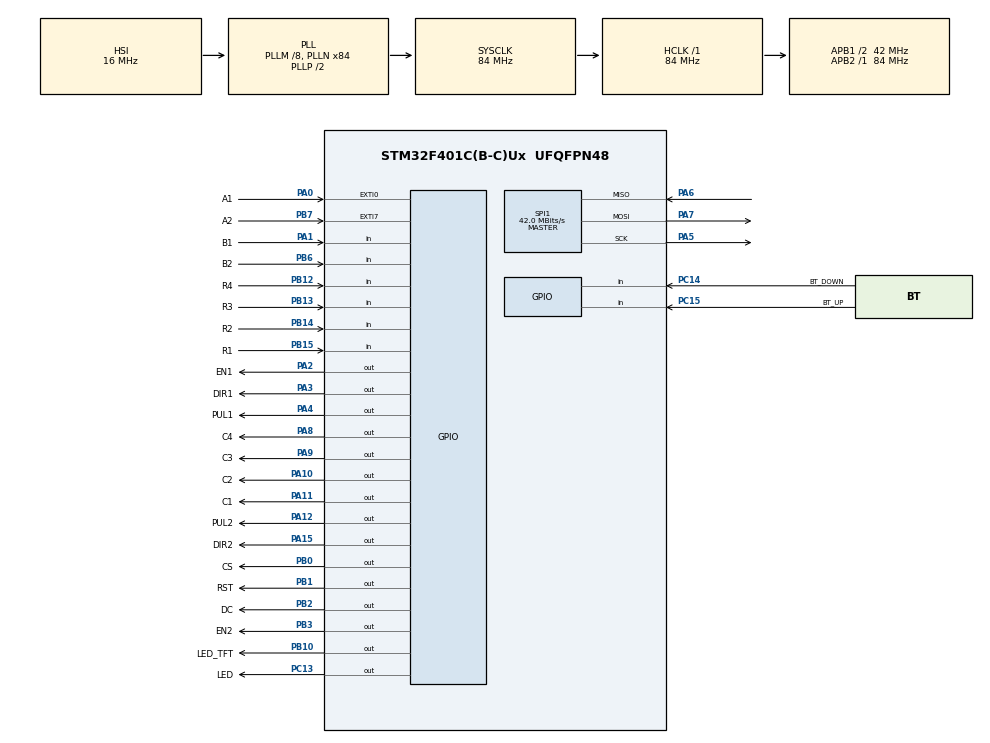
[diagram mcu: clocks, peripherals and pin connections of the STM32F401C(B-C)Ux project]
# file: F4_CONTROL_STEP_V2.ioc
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Dma.Request0=SPI1_TX
Dma.SPI1_TX.0.Direction=DMA_MEMORY_TO_PERIPH
Dma.SPI1_TX.0.FIFOMode=DMA_FIFOMODE_DISABLE
Dma.SPI1_TX.0.Instance=DMA2_Stream3
Dma.SPI1_TX.0.MemDataAlignment=DMA_MDATAALIGN_BYTE
Dma.SPI1_TX.0.MemInc=DMA_MINC_ENABLE
Dma.SPI1_TX.0.Mode=DMA_NORMAL
Dma.SPI1_TX.0.PeriphDataAlignment=DMA_PDATAALIGN_BYTE
Dma.SPI1_TX.0.PeriphInc=DMA_PINC_DISABLE
Dma.SPI1_TX.0.Priority=DMA_PRIORITY_LOW
Mcu.Family=STM32F4
Mcu.Name=STM32F401C(B-C)Ux
Mcu.Package=UFQFPN48
NVIC.DMA2_Stream3_IRQn=true\:0\:0\:false\:false\:true\:false\:true\:true
NVIC.EXTI0_IRQn=true\:0\:0\:false\:false\:true\:true\:true\:true
NVIC.EXTI9_5_IRQn=true\:0\:0\:false\:false\:true\:true\:true\:true
NVIC.PriorityGroup=NVIC_PRIORITYGROUP_4
NVIC.SPI1_IRQn=true\:0\:0\:false\:false\:true\:true\:true\:true
NVIC.TIM1_BRK_TIM9_IRQn=true\:0\:0\:false\:false\:true\:true\:true\:true
NVIC.TIM1_TRG_COM_TIM11_IRQn=true\:0\:0\:false\:false\:true\:true\:true\:true
NVIC.TIM1_UP_TIM10_IRQn=true\:0\:0\:false\:false\:true\:true\:true\:true
PA0-WKUP.GPIO_Label=A1
PA0-WKUP.GPIO_ModeDefaultEXTI=GPIO_MODE_IT_FALLING
PA0-WKUP.Signal=GPXTI0
PA1.GPIO_Label=B1
PA1.Signal=GPIO_Input
PA10.GPIO_Label=C2
PA10.Signal=GPIO_Output
PA11.GPIO_Label=C1
PA11.Signal=GPIO_Output
PA12.GPIO_Label=PUL2
PA12.GPIO_Speed=GPIO_SPEED_FREQ_VERY_HIGH
PA12.Signal=GPIO_Output
PA13.Mode=Serial_Wire
PA13.Signal=SYS_JTMS-SWDIO
PA14.Mode=Serial_Wire
PA14.Signal=SYS_JTCK-SWCLK
PA15.GPIO_Label=DIR2
PA15.Signal=GPIO_Output
PA2.GPIO_Label=EN1
PA2.Signal=GPIO_Output
PA3.GPIO_Label=DIR1
PA3.Signal=GPIO_Output
PA4.GPIO_Label=PUL1
PA4.GPIO_Speed=GPIO_SPEED_FREQ_VERY_HIGH
PA4.Signal=GPIO_Output
PA5.Mode=Full_Duplex_Master
PA5.Signal=SPI1_SCK
PA6.Mode=Full_Duplex_Master
PA6.Signal=SPI1_MISO
PA7.Mode=Full_Duplex_Master
PA7.Signal=SPI1_MOSI
PA8.GPIO_Label=C4
PA8.Signal=GPIO_Output
PA9.GPIO_Label=C3
PA9.Signal=GPIO_Output
PB0.GPIO_Label=CS
PB0.Signal=GPIO_Output
PB1.GPIO_Label=RST
PB1.Signal=GPIO_Output
PB10.GPIO_Label=LED_TFT
PB10.Signal=GPIO_Output
PB12.GPIO_Label=R4
PB12.Signal=GPIO_Input
PB13.GPIO_Label=R3
PB13.Signal=GPIO_Input
PB14.GPIO_Label=R2
PB14.Signal=GPIO_Input
PB15.GPIO_Label=R1
PB15.Signal=GPIO_Input
PB2.GPIO_Label=DC
PB2.Signal=GPIO_Output
PB3.GPIO_Label=EN2
PB3.Signal=GPIO_Output
PB6.GPIO_Label=B2
PB6.Signal=GPIO_Input
PB7.GPIO_Label=A2
PB7.GPIO_ModeDefaultEXTI=GPIO_MODE_IT_FALLING
PB7.Signal=GPXTI7
PC13-ANTI_TAMP.GPIO_Label=LED
PC13-ANTI_TAMP.Signal=GPIO_Output
PC14-OSC32_IN.GPIO_Label=BT_DOWN
PC14-OSC32_IN.Signal=GPIO_Input
PC15-OSC32_OUT.GPIO_Label=BT_UP
PC15-OSC32_OUT.Signal=GPIO_Input
PH0\ -\ OSC_IN.Mode=HSE-External-Oscillator
PH0\ -\ OSC_IN.Signal=RCC_OSC_IN
PH1\ -\ OSC_OUT.Mode=HSE-External-Oscillator
PH1\ -\ OSC_OUT.Signal=RCC_OSC_OUT
ProjectManager.HeapSize=0x200
ProjectManager.StackSize=0x400
ProjectManager.TargetToolchain=MDK-ARM V5
RCC.48MHZClocksFreq_Value=42000000
RCC.AHBFreq_Value=84000000
RCC.APB1CLKDivider=RCC_HCLK_DIV2
RCC.APB1Freq_Value=42000000
RCC.APB1TimFreq_Value=84000000
RCC.APB2Freq_Value=84000000
RCC.APB2TimFreq_Value=84000000
RCC.CortexFreq_Value=84000000
RCC.HCLKFreq_Value=84000000
RCC.HSE_VALUE=25000000
RCC.HSI_VALUE=16000000
RCC.LSE_VALUE=32768
RCC.PLLM=8
RCC.PLLN=84
RCC.SYSCLKFreq_VALUE=84000000
RCC.SYSCLKSource=RCC_SYSCLKSOURCE_PLLCLK
RCC.VCOOutputFreq_Value=168000000
SPI1.CalculateBaudRate=42.0 MBits/s
SPI1.Direction=SPI_DIRECTION_2LINES
SPI1.Mode=SPI_MODE_MASTER
SPI1.VirtualType=VM_MASTER
TIM10.Period=70-1
TIM10.Prescaler=84-1
TIM11.Period=2000-1
TIM11.Prescaler=84-1
TIM9.Period=10000-1
TIM9.Prescaler=840-1
VP_TIM10_VS_ClockSourceINT.Mode=Enable_Timer
VP_TIM11_VS_ClockSourceINT.Mode=Enable_Timer
VP_TIM9_VS_ClockSourceINT.Mode=Internal
board=custom

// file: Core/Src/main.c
/* USER CODE BEGIN Header */
/**
 ******************************************************************************
 * @file           : main.c
 * @brief          : Main program body
 ******************************************************************************
 * @attention
 *
 * Copyright (c) 2024 STMicroelectronics.
 * All rights reserved.
 *
 * This software is licensed under terms that can be found in the LICENSE file
 * in the root directory of this software component.
 * If no LICENSE file comes with this software, it is provided AS-IS.
 *
 ******************************************************************************
 */
/* USER CODE END Header */
#include "main.h"
#include "dma.h"
#include "spi.h"
#include "tim.h"
#include "gpio.h"

/* USER CODE BEGIN Includes */
#include "encoder.h"
#include "Keypad_user.h"
#include "flash.h"
#include "Button_user.h"
#include "ILI9431_user.h"
#include "step_user.h"
#include "string.h"
#include "stdio.h"
#include "math.h"
#include "stdlib.h"
#include "stdbool.h"
#include "mainTFT.h"
#include "Flash_user.h"
#include "user_ex.h"
#include "saveToFlash.h"
/* USER CODE END Includes */

/* USER CODE BEGIN PV */
extern uint8_t u8COLUMS;
extern bool changeButton;

uint16_t *arrayRotationW, *arrayRotationR;

dataUser_t dataUserInput;
dataSaveFlash_t dataWriteFlash, dataReadFlash;
dataPage_t dataPageW;

volatile bool changeEncoder1, changeEncoder2;

Screen_t screenCurr = ENCODER_ROTATION_SCREEN, screenPrev = ANGLE_MAIN_SCREEN;

volatile uint64_t timeLed, timeKeyPad;

char keyPressCurr, keyPressLast;
bool stateSaveSetup, stateSaveRotation;

uint8_t arrayTest[5];

volatile uint32_t pulseStep;
volatile bool isRun;
bool check; // FOR SCREEN LOOP MODE
/* USER CODE END PV */

void SystemClock_Config(void);

/* USER CODE BEGIN 0 */
void HAL_TIM_PeriodElapsedCallback(TIM_HandleTypeDef *htim)
{
	if (htim->Instance == htim10.Instance)
	{
		{
			if (dataUserInput.dataSetup.LoopMode == true)
			{
				if (pulseStep == 0)
				{
					pulseStep = dataUserInput.dataSetup.pulse;
				}
			}
		}
		{
			if (screenCurr != SETUP_SCREEN)
			{
				dataUserInput.dataSetup.LoopMode = false;
			}
		}
		if (pulseStep != 0)
		{
			isRun = true;
			pulseStep--;
			HAL_GPIO_TogglePin(PUL2_GPIO_Port, PUL2_Pin);
		}
		else if (pulseStep == 0)
		{
			isRun = false;
		}
	}
	if (htim->Instance == htim11.Instance)
	{
		handleKeypadInTimer();
		keyPressCurr = getKey();
		if (keyPressLast != keyPressCurr)
		{
			if (HAL_GetTick() - timeKeyPad > 50)
			{
				keyPressLast = keyPressCurr;
				{
					if (screenCurr == ENCODER_ROTATION_SCREEN)
					{
						changeButton = true;
						if (keyPressCurr != '#' && keyPressCurr != 'A' && keyPressCurr != 'B' && keyPressCurr != 'C' && keyPressCurr != 'D' && keyPressCurr != 'x')
						{
							dataUserInput.bKeypadEncoder = true;
							if (keyPressCurr == '*')
							{
								keyPressCurr = '.';
							}
							if (dataUserInput.indexRotEn < 2)
							{
								dataUserInput.arrayRotEn[dataUserInput.indexRotEn] = (char)keyPressCurr;
								dataUserInput.indexRotEn++;
							}
							else
							{
								dataUserInput.indexRotEn = 0;
							}
						}
						else if (keyPressCurr == '#')
						{
							uint8_t rot = atoi(dataUserInput.arrayRotEn);
							if (rot > dataUserInput.IndexRotation)
							{
								rot = dataUserInput.IndexRotation;
							}
							dataUserInput.RotationInTFT = rot * (ROUND / dataUserInput.IndexRotation);
							dataUserInput.bKeypadEncoder = false;
							memset(dataUserInput.arrayRotEn, '\0', sizeof(dataUserInput.arrayRotEn));
							dataUserInput.indexRotEn = 0;
						}
					}
					// SET UP SCREEN LOOP MODE, PULSE , SPEED
					else if (screenCurr == SETUP_SCREEN)
					{
						changeButton = true;
						if (dataUserInput.indexPageInSetup == 1)
						{
							// SET UP LOOP MODE
							if (dataUserInput.indexSlotInSetup == 1)
							{
								if (keyPressCurr == '#')
								{
									if (dataUserInput.dataSetup.LoopMode == false)
									{
										dataUserInput.dataSetup.LoopMode = true;
										check = false;
									}
									else if (dataUserInput.dataSetup.LoopMode == true)
									{
										dataUserInput.dataSetup.LoopMode = false;
									}
								}
							}
							// SET UP PULSE
							else if (dataUserInput.indexSlotInSetup == 2)
							{
								// PRESS NUMBER PULSE
								if (keyPressCurr != '#' && keyPressCurr != 'A' && keyPressCurr != 'B' && keyPressCurr != 'C' && keyPressCurr != 'D' && keyPressCurr != 'x')
								{
									dataUserInput.dataSetup.changePulse = true;
									if (keyPressCurr == '*')
									{
										keyPressCurr = '.';
									}
									if (dataUserInput.dataSetup.indexArrayPulse > sizeof(dataUserInput.dataSetup.arrayPulse))
									{
										dataUserInput.dataSetup.indexArrayPulse = 0;
									}
									dataUserInput.dataSetup.arrayPulse[dataUserInput.dataSetup.indexArrayPulse] = (char)keyPressCurr;
									dataUserInput.dataSetup.indexArrayPulse++;
								}
								// COMFIRM PULSE -> SAVE TO FLASH
								else if (keyPressCurr == '#')
								{
									dataUserInput.dataSetup.changePulse = false;
									dataUserInput.dataSetup.indexArrayPulse = 0;
									dataUserInput.dataSetup.pulse = atoi(dataUserInput.dataSetup.arrayPulse);
									// sscanf(dataUserInput.dataSetup.arrayPulse, "%lld", &dataUserInput.dataSetup.pulse);
									stateSaveSetup = true; // START SAVE SETUP
								}
							}
							// SET UP SPEED
							else if (dataUserInput.indexSlotInSetup == 3)
							{
								// PRESS NUMBER SPEED
								if (keyPressCurr != '#' && keyPressCurr != 'A' && keyPressCurr != 'B' && keyPressCurr != 'C' && keyPressCurr != 'D' && keyPressCurr != 'x')
								{
									dataUserInput.dataSetup.changeSpeed = true;
									if (keyPressCurr == '*')
									{
										keyPressCurr = '.';
									}
									if (dataUserInput.dataSetup.indexArraySpeed > sizeof(dataUserInput.dataSetup.arraySpeed))
									{
										dataUserInput.dataSetup.indexArraySpeed = 0;
									}
									dataUserInput.dataSetup.arraySpeed[dataUserInput.dataSetup.indexArraySpeed] = (char)keyPressCurr;
									dataUserInput.dataSetup.indexArraySpeed++;
								}
								// COMFIRM SPEED -> SAVE TO FLASH
								else if (keyPressCurr == '#')
								{
									dataUserInput.dataSetup.changeSpeed = false;
									dataUserInput.dataSetup.indexArraySpeed = 0;
									dataUserInput.dataSetup.speed = atoi(dataUserInput.dataSetup.arraySpeed);
									// sscanf(dataUserInput.dataSetup.arraySpeed, "%d", &dataUserInput.dataSetup.speed);
									stateSaveSetup = true; // START SAVE SETUP
								}
							}
						}
						else if (dataUserInput.indexPageInSetup == 2)
						{
							if (dataUserInput.indexSlotInSetup == 1)
							{
								// SET UP NUM INDEX
								if (keyPressCurr != '#' && keyPressCurr != 'A' && keyPressCurr != 'B' && keyPressCurr != 'C' && keyPressCurr != 'D' && keyPressCurr != 'x')
								{
									dataUserInput.dataSetup.changeNumIndex = true;
									if (keyPressCurr == '*')
									{
										keyPressCurr = '.';
									}
									if (dataUserInput.dataSetup.indexArrayNumI > sizeof(dataUserInput.dataSetup.arrayNumIndex))
									{
										dataUserInput.dataSetup.indexArrayNumI = 0;
									}
									dataUserInput.dataSetup.arrayNumIndex[dataUserInput.dataSetup.indexArrayNumI] = (char)keyPressCurr;
									dataUserInput.dataSetup.indexArrayNumI++;
								}
								// COMFIRM NUM INDEX -> SAVE TO FLASH
								else if (keyPressCurr == '#')
								{
									dataUserInput.dataSetup.changeNumIndex = false;
									dataUserInput.dataSetup.indexArrayNumI = 0;
									dataUserInput.dataSetup.numIndex = atoi(dataUserInput.dataSetup.arrayNumIndex);
									// sscanf(dataUserInput.dataSetup.arrayNumIndex, "%d", &dataUserInput.dataSetup.numIndex);
									stateSaveSetup = true;
								}
							}
						}
					}
					// INPUT TOTAL PAGE
					else if (screenCurr == INPUT_TOTAL_PAGE_SCREEN)
					{
						changeButton = true;
						if (keyPressCurr != '#' && keyPressCurr != 'A' && keyPressCurr != 'B' && keyPressCurr != 'C' && keyPressCurr != 'D' && keyPressCurr != 'x')
						{

							dataUserInput.dataSetupRotation.changeCreatPage = true;
							if (keyPressCurr == '*')
							{
								keyPressCurr = '.';
							}
							if (dataUserInput.dataSetupRotation.indexStrTotalPage < sizeof(dataUserInput.dataSetupRotation.strTotalPage))
							{
								dataUserInput.dataSetupRotation.strTotalPage[dataUserInput.dataSetupRotation.indexStrTotalPage] = (char)keyPressCurr;
								dataUserInput.dataSetupRotation.indexStrTotalPage++;
							}
							else
							{
								dataUserInput.dataSetupRotation.indexStrTotalPage = 0;
							}
						}
						else if (keyPressCurr == '#')
						{
							dataUserInput.dataSetupRotation.indexStrTotalPage = 0;
							dataPageW.totalPage = atoi(dataUserInput.dataSetupRotation.strTotalPage);
							if (dataPageW.totalPage >= SETUP_ROTATION_MAX_SLOT)
							{
								dataPageW.totalPage = SETUP_ROTATION_MAX_SLOT;
							}
							dataUserInput.dataSetupRotation.changeCreatPage = false;
							dataUserInput.dataSetup.totalPage = dataPageW.totalPage;
							dataWriteFlash.totalPage = dataPageW.totalPage;
							stateSaveSetup = true;
						}
					}
					// INPUT ROTATION
					else if (screenCurr == HAND_ROTATION_SCREEN)
					{
						changeButton = true;

						if (keyPressCurr != '#' && keyPressCurr != 'A' && keyPressCurr != 'B' && keyPressCurr != 'C' && keyPressCurr != 'D' && keyPressCurr != 'x')
						{
							dataUserInput.dataSetupRotation.changeCreatPage = true;
							if (keyPressCurr == '*')
							{
								keyPressCurr = '.';
							}
							if (dataUserInput.dataSetupRotation.indexStrRotation < SETUP_ROTATION_MAX_STR)
							{
								dataUserInput.dataSetupRotation.strRotation[dataUserInput.dataSetupRotation.indexStrRotation] = (char)keyPressCurr;
								dataUserInput.dataSetupRotation.indexStrRotation++;
							}
							else
							{
								dataUserInput.dataSetupRotation.indexStrRotation = 0;
							}
						}
						else if (keyPressCurr == '#')
						{
							dataPageW.indexArrRCur = (dataUserInput.dataSetupRotation.indexSlotInRotation) + ((dataUserInput.dataSetupRotation.indexPageInRotation - 1) * 3);
							dataPageW.dataRotation[dataPageW.page][dataPageW.indexArrRCur] = atoi(dataUserInput.dataSetupRotation.strRotation);
							if (dataPageW.dataRotation[dataPageW.page][dataPageW.indexArrRCur] >= dataUserInput.dataSetup.numIndex)
							{
								dataPageW.dataRotation[dataPageW.page][dataPageW.indexArrRCur] = dataUserInput.dataSetup.numIndex;
							}
							dataUserInput.dataSetupRotation.indexStrRotation = 0;
							memset(dataUserInput.dataSetupRotation.strRotation, '0', 2);
							dataUserInput.dataSetupRotation.changeCreatPage = false;
						}
					}
					else if (screenCurr == ANGLE_MAIN_SCREEN)
					{
						if (keyPressCurr == '#')
						{
							changeButton = true;
							// for (uint8_t i = 0; i < dataUserInput.dataAngleInMain.rotation_3; i++)
							// {
							// 	dataUserInput.RotationInTFT += ROUND / dataUserInput.IndexRotation;
							// }
							dataUserInput.RotationInTFT = dataUserInput.dataAngleInMain.rotation_3 * (ROUND / dataUserInput.IndexRotation);
						}
					}
				}
				{
					if (keyPressCurr == 'A') // ON/OFF MANUAL ANGLE
					{
						if (screenCurr != HAND_ROTATION_SCREEN && screenCurr != SETUP_SCREEN && screenCurr != INPUT_TOTAL_PAGE_SCREEN)
						{
							if (screenCurr == ENCODER_ROTATION_SCREEN)
							{
								screenCurr = FLOOR_MAIN_SCREEN;
							}
							else if (screenCurr == CHEATER_SCREEN)
							{
								screenCurr = FLOOR_MAIN_SCREEN;
							}
							else if (screenCurr == FLOOR_MAIN_SCREEN)
							{
								screenCurr = ANGLE_MAIN_SCREEN;
							}
							else if (screenCurr == ANGLE_MAIN_SCREEN)
							{
								screenCurr = FLOOR_MAIN_SCREEN;
							}
						}
					}
					else if (keyPressCurr == 'B') // ON/OFF MANUAL ROTATION
					{
						if (screenCurr == ENCODER_ROTATION_SCREEN)
						{
							screenCurr = INPUT_TOTAL_PAGE_SCREEN;
						}
						else if (screenCurr == INPUT_TOTAL_PAGE_SCREEN)
						{
							screenCurr = ENCODER_ROTATION_SCREEN;
						}
						else
						{
							screenCurr = ENCODER_ROTATION_SCREEN;
						}
					}
					else if (keyPressCurr == 'C') // ON/OFF CHEATER
					{
						if (screenCurr != HAND_ROTATION_SCREEN && screenCurr != SETUP_SCREEN && screenCurr != INPUT_TOTAL_PAGE_SCREEN)
						{
							if (screenCurr == ENCODER_ROTATION_SCREEN)
							{
								screenCurr = CHEATER_SCREEN;
							}
							else if (screenCurr == CHEATER_SCREEN)
							{
								screenCurr = ENCODER_ROTATION_SCREEN;
							}
							else if (screenCurr == ANGLE_MAIN_SCREEN || screenCurr == FLOOR_MAIN_SCREEN)
							{
								screenCurr = CHEATER_SCREEN;
							}
						}
					}
					else if (keyPressCurr == 'D') // SET-UP
					{
						screenCurr = SETUP_SCREEN;
					}
				}
				timeKeyPad = HAL_GetTick();
			}
		}
	}
}

void HAL_GPIO_EXTI_Callback(uint16_t GPIO_Pin)
{
	if (isRun == false)
	{
		if (GPIO_Pin == A1_Pin)
		{
			handleInterruptEncoder(GPIO_Pin, A1_GPIO_Port, A1_Pin, B1_GPIO_Port, B1_Pin);
		}
		else if (GPIO_Pin == A2_Pin)
		{
			handleInterruptEncoder(GPIO_Pin, A2_GPIO_Port, A2_Pin, B2_GPIO_Port, B2_Pin);
		}
	}
}

void increse_callback(uint16_t GPIO_Pin)
{
	if (GPIO_Pin == A1_Pin) // 	ENCODER LEFT
	{
		changeEncoder1 = true;
		if (screenCurr == ENCODER_ROTATION_SCREEN)
		{
			dataUserInput.RotationInTFT += ROUND / dataUserInput.IndexRotation; // 32 -> 11.25
			if (dataUserInput.RotationInTFT > ROUND)
			{
				dataUserInput.RotationInTFT = ROUND / dataUserInput.IndexRotation;
			}
			else if (dataUserInput.RotationInTFT <= 0)
			{
				dataUserInput.RotationInTFT = ROUND;
			}
		}
		else if (screenCurr == SETUP_SCREEN)
		{
			dataUserInput.indexSlotInSetup++;
			if (dataUserInput.indexSlotInSetup > 3)
			{
				dataUserInput.indexSlotInSetup = 1;
				dataUserInput.indexPageInSetup++;
			}
			else if (dataUserInput.indexSlotInSetup < 1)
			{
				dataUserInput.indexSlotInSetup = 3;
				dataUserInput.indexPageInSetup--;
			}
			if (dataUserInput.indexPageInSetup < 1)
			{
				dataUserInput.indexPageInSetup = 2;
			}
			if (dataUserInput.indexPageInSetup > 2)
			{
				dataUserInput.indexPageInSetup = 1;
			}
		}
		else if (screenCurr == ANGLE_MAIN_SCREEN)
		{
			if (dataUserInput.dataAngleInMain.indexAngle < u8COLUMS)
			{
				dataUserInput.dataAngleInMain.indexAngle++;
			}
		}
		else if (screenCurr == FLOOR_MAIN_SCREEN)
		{
			dataUserInput.indexFloorInRotation++;
			dataUserInput.dataAngleInMain.indexAngle = 0;
			if (dataUserInput.indexFloorInRotation > dataUserInput.dataSetup.totalPage - 1)
			{
				dataUserInput.indexFloorInRotation = 1;
			}
		}
	}
	else if (GPIO_Pin == A2_Pin) // 	ENCODER RIGHT
	{
		changeEncoder2 = true;
		if (screenCurr == HAND_ROTATION_SCREEN)
		{
			dataUserInput.dataSetupRotation.changeCreatPage = false;
			if (strcmp(dataUserInput.dataSetupRotation.strRotation, "00") != 0)
			{
				memset(dataUserInput.dataSetupRotation.strRotation, '0', 2);
			}
			dataUserInput.dataSetupRotation.indexStrRotation = 0;
			if (dataUserInput.dataSetupRotation.indexPageInRotation < u8COLUMS / 3) // 90 : tong so vi tri co the luu
			{
				dataUserInput.dataSetupRotation.indexSlotInRotation++;
				if (dataUserInput.dataSetupRotation.indexSlotInRotation > 3)
				{
					dataUserInput.dataSetupRotation.indexSlotInRotation = 1;
					dataUserInput.dataSetupRotation.indexPageInRotation++;
				}
			}
			else if (dataUserInput.dataSetupRotation.indexPageInRotation >= u8COLUMS / 3)
			{
				dataUserInput.dataSetupRotation.indexPageInRotation = 1;
			}
		}
		else if (screenCurr == CHEATER_SCREEN)
		{
			dataUserInput.fCheater = dataUserInput.fCheater + _CHEATER;
		}
	}
}

void decrese_callback(uint16_t GPIO_Pin)
{
	if (GPIO_Pin == A1_Pin) // 	ENCODER LEFT
	{
		changeEncoder1 = true;
		if (screenCurr == ENCODER_ROTATION_SCREEN)
		{
			dataUserInput.RotationInTFT -= ROUND / dataUserInput.IndexRotation; // 32 -> 11.25
			if (dataUserInput.RotationInTFT > ROUND)
			{
				dataUserInput.RotationInTFT = ROUND / dataUserInput.IndexRotation;
			}
			else if (dataUserInput.RotationInTFT <= 0)
			{
				dataUserInput.RotationInTFT = ROUND;
			}
		}
		else if (screenCurr == SETUP_SCREEN)
		{
			dataUserInput.indexSlotInSetup--;
			if (dataUserInput.indexSlotInSetup > 3)
			{
				dataUserInput.indexSlotInSetup = 1;
				dataUserInput.indexPageInSetup++;
			}
			else if (dataUserInput.indexSlotInSetup < 1)
			{
				dataUserInput.indexSlotInSetup = 3;
				dataUserInput.indexPageInSetup--;
			}
			if (dataUserInput.indexPageInSetup < 1)
			{
				dataUserInput.indexPageInSetup = 2;
			}
			if (dataUserInput.indexPageInSetup > 2)
			{
				dataUserInput.indexPageInSetup = 1;
			}
		}
		else if (screenCurr == ANGLE_MAIN_SCREEN)
		{
			if (dataUserInput.dataAngleInMain.indexAngle > 0)
			{
				dataUserInput.dataAngleInMain.indexAngle--;
			}
		}
		else if (screenCurr == FLOOR_MAIN_SCREEN)
		{
			dataUserInput.indexFloorInRotation--;
			dataUserInput.dataAngleInMain.indexAngle = 0;
			if (dataUserInput.indexFloorInRotation < 1)
			{
				dataUserInput.indexFloorInRotation = dataUserInput.dataSetup.totalPage;
			}
		}
	}
	else if (GPIO_Pin == A2_Pin) // 	ENCODER RIGHT
	{
		changeEncoder2 = true;
		if (screenCurr == HAND_ROTATION_SCREEN)
		{
			dataUserInput.dataSetupRotation.changeCreatPage = false;
			if (strcmp(dataUserInput.dataSetupRotation.strRotation, "00") != 0)
			{
				memset(dataUserInput.dataSetupRotation.strRotation, '0', 2);
			}
			dataUserInput.dataSetupRotation.indexStrRotation = 0;

			if (dataUserInput.dataSetupRotation.indexPageInRotation >= 1)
			{
				dataUserInput.dataSetupRotation.indexSlotInRotation--;
				if (dataUserInput.dataSetupRotation.indexSlotInRotation < 1)
				{
					dataUserInput.dataSetupRotation.indexSlotInRotation = 3;
					dataUserInput.dataSetupRotation.indexPageInRotation--;
				}
			}
			if (dataUserInput.dataSetupRotation.indexPageInRotation < 1)
			{
				dataUserInput.dataSetupRotation.indexPageInRotation = u8COLUMS / 3; // 45 /3
			}
		}
		else if (screenCurr == CHEATER_SCREEN)
		{
			dataUserInput.fCheater = dataUserInput.fCheater - _CHEATER;
		}
	}
}

static inline void change_screen() {
    if (screenCurr == ENCODER_ROTATION_SCREEN || screenCurr == CHEATER_SCREEN ||
        screenCurr == FLOOR_MAIN_SCREEN || screenCurr == ANGLE_MAIN_SCREEN) {
        ILI9341_Draw_Image((const char *)layoutMain, SCREEN_HORIZONTAL_2);
    }
    if (screenPrev == HAND_ROTATION_SCREEN &&
        screenCurr != HAND_ROTATION_SCREEN) {
        for (int i = 0; i < dataPageW.totalPage; i++) {
            free(dataPageW.dataRotation[i]);
        }
        free(dataPageW.dataRotation);
    }
}

static inline void change_encoder() {
    if (screenCurr == ENCODER_ROTATION_SCREEN || screenCurr == CHEATER_SCREEN) {
        pulseStep =
            stepAngle(dataUserInput.RotationInTFT + dataUserInput.fCheater);
    }

    else if (screenCurr == ANGLE_MAIN_SCREEN ||
             screenCurr == FLOOR_MAIN_SCREEN ||
             screenCurr == ENCODER_ROTATION_SCREEN) {
        uint8_t indexColums, indexRow;
        indexColums = dataUserInput.dataAngleInMain.indexAngle;
        indexRow = dataUserInput.indexFloorInRotation - 1;

        uint8_t num = indexRow * u8COLUMS + indexColums;

        if (indexColums == 0) {
            dataUserInput.dataAngleInMain.rotation_1 = 0;
            dataUserInput.dataAngleInMain.rotation_2 = arrayRotationR[num];
        }
		else if (indexColums > 0)  // 1
        {
            dataUserInput.dataAngleInMain.rotation_1 = arrayRotationR[num - 1];
            dataUserInput.dataAngleInMain.rotation_2 = arrayRotationR[num];
        }

        dataUserInput.dataAngleInMain.rotation_3 = arrayRotationR[num + 1];
        dataUserInput.dataAngleInMain.rotation_4 = arrayRotationR[num + 2];
        dataUserInput.dataAngleInMain.rotation_5 = arrayRotationR[num + 3];

        pulseStep =
            stepAngle(dataUserInput.RotationInTFT + dataUserInput.fCheater);
    }
}

/* USER CODE END 0 */

int main(void)
{

	/* MCU Configuration--------------------------------------------------------*/

	/* Reset of all peripherals, Initializes the Flash interface and the Systick. */
	HAL_Init();

	/* Configure the system clock */
	SystemClock_Config();

	/* Initialize all configured peripherals */
	MX_GPIO_Init();
	MX_DMA_Init();
	MX_SPI1_Init();
	MX_TIM11_Init();
	MX_TIM10_Init();
	MX_TIM9_Init();
	/* USER CODE BEGIN 2 */
	// READ PULSE AND SPEED FROM FLASH
	{
		Flash_Read_Struct_Setting(AR_STORE_SETTING, &dataReadFlash, sizeof(dataSaveFlash_t));
		HAL_Delay(50);
		dataUserInput.dataSetup.speed = dataReadFlash.Speed;
		dataUserInput.dataSetup.pulse = atoi(dataReadFlash.Pulse);
		dataUserInput.dataSetup.numIndex = dataReadFlash.numIndex;

		dataUserInput.dataSetup.totalPage = dataReadFlash.totalPage;
		free(arrayRotationR);
		arrayRotationR = (uint16_t *)malloc((dataUserInput.dataSetup.totalPage * u8COLUMS) * sizeof(uint16_t));
		Flash_Read_Array(AR_STORE_ROTATION, arrayRotationR, dataUserInput.dataSetup.totalPage * u8COLUMS);
		// memcpy(dataTest, arrayRotationR, dataPageW.totalPage * u8COLUMS);
	}

	//  --------- END READ FLASH -----------------
	{
		dataUserInput.IndexRotation = dataUserInput.dataSetup.numIndex; //(32, 64, 96)
		dataUserInput.RotationInTFT = 0;								// 360

		dataUserInput.indexFloorInRotation = 1;
		dataUserInput.indexPageInSetup = 1;
		dataUserInput.indexSlotInSetup = 1;
		dataUserInput.fCheater = 0;
	}
	// DEFINE ANGLE NUMBER IN MAIN
	{
		dataUserInput.dataAngleInMain.rotation_1 = 0;
		dataUserInput.dataAngleInMain.rotation_2 = arrayRotationR[0];
		dataUserInput.dataAngleInMain.rotation_3 = arrayRotationR[1];
		dataUserInput.dataAngleInMain.rotation_4 = arrayRotationR[2];
		dataUserInput.dataAngleInMain.rotation_5 = arrayRotationR[3];
	}
	{
		dataUserInput.dataSetup.LoopMode = false;

		// DEFINE SPEED
		memset(dataUserInput.dataSetup.arraySpeed, '0', sizeof(dataUserInput.dataSetup.arraySpeed));
		dataUserInput.dataSetup.indexArraySpeed = 0;
		dataUserInput.dataSetup.changeSpeed = false;

		// DEFINE PULSE
		memset(dataUserInput.dataSetup.arrayPulse, '0', sizeof(dataUserInput.dataSetup.arrayPulse));
		dataUserInput.dataSetup.indexArrayPulse = 0;
		dataUserInput.dataSetup.changePulse = false;

		// DEFINE NUMINDEX
		memset(dataUserInput.dataSetup.arrayNumIndex, '0', sizeof(dataUserInput.dataSetup.arrayNumIndex));
		dataUserInput.dataSetup.indexArrayNumI = 0;
		dataUserInput.dataSetup.changeNumIndex = false;
	}
	// DEFINE TOTAL CREATE
	{
		dataUserInput.dataSetupRotation.indexPageInRotation = 1;
		dataUserInput.dataSetupRotation.indexSlotInRotation = 1;
	}

	// DEFINE DATA ROTATION WRITE TO FLASH
	{
		dataPageW.totalPage = 0;
		dataPageW.indexArrRCur = 1;
		dataPageW.page = 0;
	}
	// ------------ INIT ----------------
	initILI();	  // TFT
	initButton(); // BUTTON
	initKeypad(); // KEYPAD
	initStep();	  // TIMER , SET SPEED , PULSE ONE ROUND
	HAL_GPIO_WritePin(LED_GPIO_Port, LED_Pin, 1);
	pulseStep = stepAngle(dataUserInput.RotationInTFT + dataUserInput.fCheater);
	ILI9341_Draw_Image((const char *)layoutMain, SCREEN_HORIZONTAL_2);

	/* USER CODE END 2 */

	/* Infinite loop */
	/* USER CODE BEGIN WHILE */
        while (1) {
            buttonHandle();
            if (HAL_GetTick() - timeLed >= 200) {
                if (isRun == true) {
                    if (dataUserInput.dataSetup.LoopMode == true) {
                        if (check == false) {
                            check = true;
                            ArrayTFT(screenCurr, dataUserInput);
                            HighlightSlot(dataUserInput);
                        }
                    }
                }
				else if (isRun == false) {
                    if (stateSaveSetup == true)  // SAVE SETTING
                    {
                        stateSaveSetup = false;
                        comfirmDataSetting();
                    }
                    if (stateSaveRotation == true)  // SAVE ROTATION
                    {
                        stateSaveRotation = false;
                        Flash_Write_Array(AR_STORE_ROTATION, arrayRotationW,
                                          dataPageW.totalPage * u8COLUMS);
                        HAL_Delay(50);
                        free(arrayRotationW);

                        free(arrayRotationR);
                        arrayRotationR = (uint16_t *)malloc(
                            (dataUserInput.dataSetup.totalPage * u8COLUMS) *
                            sizeof(uint8_t));
                        Flash_Read_Array(
                            AR_STORE_ROTATION, arrayRotationR,
                            dataUserInput.dataSetup.totalPage * u8COLUMS);

                        // memcpy(dataTest, arrayRotationR, dataPageW.totalPage
                        // * u8COLUMS);
                    }
                    if (screenPrev != screenCurr)  // CHANGE SCREEN
                    {
                        clearLCD();
                        change_screen();
                        ArrayTFT(screenCurr, dataUserInput);
                        HighlightSlot(dataUserInput);
                        screenPrev = screenCurr;
                    }
                    if (changeEncoder1 == true || changeEncoder2 == true ||
                        changeButton == true)  // HANDLE ENCODER BUTTON
                    {
                        changeEncoder1 = false;
                        changeEncoder2 = false;
                        changeButton = false;

                        change_encoder();

                        ArrayTFT(screenCurr, dataUserInput);
                        HighlightSlot(dataUserInput);
                    }

                    HAL_GPIO_TogglePin(LED_GPIO_Port, LED_Pin);
                    timeLed = HAL_GetTick();
                }
            }
            /* USER CODE END WHILE */

        }
}

void SystemClock_Config(void)
{
	RCC_OscInitTypeDef RCC_OscInitStruct = {0};
	RCC_ClkInitTypeDef RCC_ClkInitStruct = {0};

	/** Configure the main internal regulator output voltage
	 */
	__HAL_RCC_PWR_CLK_ENABLE();
	__HAL_PWR_VOLTAGESCALING_CONFIG(PWR_REGULATOR_VOLTAGE_SCALE2);

	/** Initializes the RCC Oscillators according to the specified parameters
	 * in the RCC_OscInitTypeDef structure.
	 */
	RCC_OscInitStruct.OscillatorType = RCC_OSCILLATORTYPE_HSI;
	RCC_OscInitStruct.HSIState = RCC_HSI_ON;
	RCC_OscInitStruct.HSICalibrationValue = RCC_HSICALIBRATION_DEFAULT;
	RCC_OscInitStruct.PLL.PLLState = RCC_PLL_ON;
	RCC_OscInitStruct.PLL.PLLSource = RCC_PLLSOURCE_HSI;
	RCC_OscInitStruct.PLL.PLLM = 8;
	RCC_OscInitStruct.PLL.PLLN = 84;
	RCC_OscInitStruct.PLL.PLLP = RCC_PLLP_DIV2;
	RCC_OscInitStruct.PLL.PLLQ = 4;
	if (HAL_RCC_OscConfig(&RCC_OscInitStruct) != HAL_OK)
	{
		Error_Handler();
	}

	/** Initializes the CPU, AHB and APB buses clocks
	 */
	RCC_ClkInitStruct.ClockType = RCC_CLOCKTYPE_HCLK | RCC_CLOCKTYPE_SYSCLK | RCC_CLOCKTYPE_PCLK1 | RCC_CLOCKTYPE_PCLK2;
	RCC_ClkInitStruct.SYSCLKSource = RCC_SYSCLKSOURCE_PLLCLK;
	RCC_ClkInitStruct.AHBCLKDivider = RCC_SYSCLK_DIV1;
	RCC_ClkInitStruct.APB1CLKDivider = RCC_HCLK_DIV2;
	RCC_ClkInitStruct.APB2CLKDivider = RCC_HCLK_DIV1;

	if (HAL_RCC_ClockConfig(&RCC_ClkInitStruct, FLASH_LATENCY_2) != HAL_OK)
	{
		Error_Handler();
	}
}

void Error_Handler(void)
{
	__disable_irq();
	while (1)
	{
	}
}
